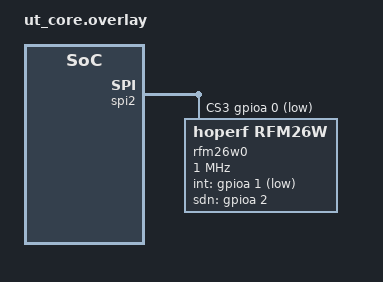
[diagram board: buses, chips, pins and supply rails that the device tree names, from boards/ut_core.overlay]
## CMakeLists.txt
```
cmake_minimum_required(VERSION 3.20.0)

set(BOARD ut_core)

# The RFM26W driver is an out-of-tree Zephyr module that lives in the COMMS app.
list(APPEND EXTRA_ZEPHYR_MODULES ${CMAKE_CURRENT_SOURCE_DIR}/../../COMMS/drivers/rfm26w)

find_package(Zephyr REQUIRED HINTS $ENV{ZEPHYR_BASE})
project(rfm26w_test)

target_sources(app PRIVATE src/main.c)
```

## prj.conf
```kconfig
# --- DMA / CACHE (as in spiFlashTest) ---
CONFIG_DMA=n
CONFIG_SPI_STM32_DMA=n
CONFIG_CACHE_MANAGEMENT=y

# --- PERIPHERALS ---
CONFIG_GPIO=y
CONFIG_SPI=y
CONFIG_SPI_STM32=y
CONFIG_CAN=n
CONFIG_CAN_STM32_FDCAN=n

# --- CONSOLE (UART) ---
CONFIG_CONSOLE=y
CONFIG_STDOUT_CONSOLE=y
CONFIG_UART_CONSOLE=y
CONFIG_SERIAL=y

# --- RTT (disabled) ---
CONFIG_USE_SEGGER_RTT=n
CONFIG_RTT_CONSOLE=n

# --- PRINTK / LOGGING ---
CONFIG_PRINTK=y
CONFIG_LOG=n

# --- POWER MANAGEMENT (disabled) ---
CONFIG_PM=n
CONFIG_PM_DEVICE=n
CONFIG_PM_DEVICE_RUNTIME=n
CONFIG_TICKLESS_KERNEL=n
```

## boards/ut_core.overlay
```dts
/*
 * [PLACEHOLDER] Radio node for the RFM26W skeleton test.
 *
 * The COMMS board does not exist yet. The chip select and pins below are placeholders chosen only
 * because they are unused in ut_core.dts and ut_core-common.dtsi. Replace them with the real
 * COMMS wiring, and move the node into the COMMS board devicetree.
 *
 * Adding a fourth chip select to spi2 means restating the whole cs-gpios list: the first three
 * entries are the existing FRAM chip selects from ut_core.dts.
 */
&spi2 {
	cs-gpios = <&gpiob 10 (GPIO_ACTIVE_LOW | GPIO_PULL_UP)>,
		   <&gpiob 8  (GPIO_ACTIVE_LOW | GPIO_PULL_UP)>,
		   <&gpiob 4  (GPIO_ACTIVE_LOW | GPIO_PULL_UP)>,
		   <&gpioa 0  (GPIO_ACTIVE_LOW | GPIO_PULL_UP)>; /* PLACEHOLDER: radio CS */

	rfm26w0: rfm26w@3 {
		compatible = "hoperf,rfm26w";
		reg = <3>;
		spi-max-frequency = <1000000>; /* PLACEHOLDER: the radio allows up to 10 MHz */
		int-gpios = <&gpioa 1 (GPIO_ACTIVE_LOW | GPIO_PULL_UP)>; /* PLACEHOLDER: nIRQ */
		sdn-gpios = <&gpioa 2 GPIO_ACTIVE_HIGH>;                 /* PLACEHOLDER: SDN */
		block-length = <223>;
		/*
		 * ASSUMPTION, MAY NEED ADJUSTING: 30 MHz crystal. Not confirmed for the module.
		 * If the module uses another crystal, or a TCXO (add `xo-tcxo;`), change this AND
		 * regenerate the radio profile (PLANNED.md section 5.4, "Regenerating the radio profile").
		 */
		xo-frequency-hz = <30000000>;
	};
};
```

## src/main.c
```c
/**
 * @file main.c
 * @brief Bring-up test for the RFM26W driver (phase 2: SPI command layer)
 *
 * Powers the radio up, reads PART_INFO and shuts it down again. With no radio connected,
 * rfm26w_start() is expected to fail with -ETIMEDOUT (no CTS). Transmit and receive are not
 * implemented yet.
 *
 * The radio's reference clock (30 MHz crystal) is an ASSUMPTION set in the devicetree overlay.
 * If it is wrong, PART_INFO can still read correctly, but the carrier frequency and data rate will
 * be off. See PLANNED.md section 5.4.
 */
#include <errno.h>
#include <zephyr/device.h>
#include <zephyr/kernel.h>
#include <zephyr/sys/printk.h>

#include <ut/drivers/rfm26w.h>

#define RADIO_NODE DT_NODELABEL(rfm26w0)

static const struct device *const radio = DEVICE_DT_GET(RADIO_NODE);

static const char *err_name(int err)
{
	switch (err) {
	case 0:
		return "ok";
	case -ETIMEDOUT:
		return "ETIMEDOUT (no CTS: radio absent, unpowered, or wrong reference clock/wiring)";
	case -EIO:
		return "EIO (SPI error or property read-back mismatch)";
	case -ESHUTDOWN:
		return "ESHUTDOWN (radio not started)";
	case -ENOTSUP:
		return "ENOTSUP (not implemented yet)";
	default:
		return "other error";
	}
}

int main(void)
{
	struct rfm26w_info info;
	int ret;

	if (!device_is_ready(radio)) {
		printk("rfm26w: device not ready\n");
		return -ENODEV;
	}

	printk("rfm26w: starting (reference clock is an ASSUMPTION, see the devicetree overlay)\n");
	ret = rfm26w_start(radio);
	printk("rfm26w: start returned %d: %s\n", ret, err_name(ret));
	if (ret < 0) {
		return ret;
	}

	ret = rfm26w_get_info(radio, &info);
	printk("rfm26w: get_info returned %d: %s\n", ret, err_name(ret));
	if (ret == 0) {
		printk("rfm26w: part 0x%04x (expect 0x4463, verify), chip rev 0x%02x, block %u B\n",
		       info.part, info.chip_rev, info.block_len);
	}

	/* Listen for a short while. With no transmitter nearby, -EAGAIN (timeout) is expected. */
	{
		uint8_t block[223];
		struct rfm26w_rx_info rx;
		struct rfm26w_stats st;
		int16_t rssi;

		ret = rfm26w_recv(radio, block, sizeof(block), &rx, K_MSEC(500));
		printk("rfm26w: recv returned %d (-EAGAIN means nothing was heard)\n", ret);
		if (rfm26w_read_rssi(radio, &rssi) == 0) {
			printk("rfm26w: channel RSSI %d.%d dBm (conversion unverified)\n", rssi / 10,
			       (rssi < 0 ? -rssi : rssi) % 10);
		}
		if (rfm26w_get_stats(radio, &st) == 0) {
			printk("rfm26w: rx %u, tx %u, overruns %u, underruns %u, cts timeouts %u, "
			       "spi errors %u\n", st.rx_blocks, st.tx_blocks, st.rx_overruns,
			       st.tx_underruns, st.cts_timeouts, st.spi_errors);
		}
	}

	ret = rfm26w_shutdown(radio);
	printk("rfm26w: shutdown returned %d: %s\n", ret, err_name(ret));
	return 0;
}
```
